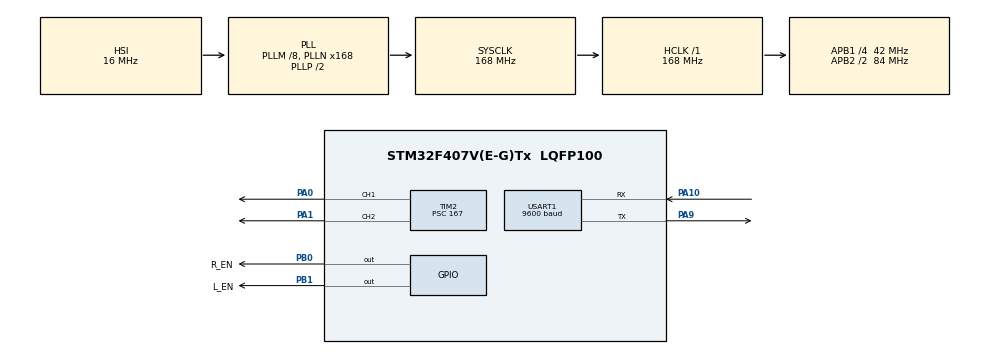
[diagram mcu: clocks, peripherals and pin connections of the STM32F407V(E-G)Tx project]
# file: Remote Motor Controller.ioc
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Mcu.Family=STM32F4
Mcu.Name=STM32F407V(E-G)Tx
Mcu.Package=LQFP100
NVIC.PriorityGroup=NVIC_PRIORITYGROUP_4
NVIC.TIM2_IRQn=true\:0\:0\:false\:false\:true\:true\:true\:true
NVIC.USART1_IRQn=true\:0\:0\:false\:false\:true\:true\:true\:true
PA0-WKUP.Signal=S_TIM2_CH1_ETR
PA1.Signal=S_TIM2_CH2
PA10.Mode=Asynchronous
PA10.Signal=USART1_RX
PA13.Mode=Serial_Wire
PA13.Signal=SYS_JTMS-SWDIO
PA14.Mode=Serial_Wire
PA14.Signal=SYS_JTCK-SWCLK
PA9.Mode=Asynchronous
PA9.Signal=USART1_TX
PB0.GPIO_Label=R_EN
PB0.PinState=GPIO_PIN_SET
PB0.Signal=GPIO_Output
PB1.GPIO_Label=L_EN
PB1.PinState=GPIO_PIN_SET
PB1.Signal=GPIO_Output
PH0-OSC_IN.Mode=HSE-External-Oscillator
PH0-OSC_IN.Signal=RCC_OSC_IN
PH1-OSC_OUT.Mode=HSE-External-Oscillator
PH1-OSC_OUT.Signal=RCC_OSC_OUT
ProjectManager.HeapSize=0x200
ProjectManager.StackSize=0x400
ProjectManager.TargetToolchain=MDK-ARM V5
RCC.48MHZClocksFreq_Value=84000000
RCC.AHBFreq_Value=168000000
RCC.APB1CLKDivider=RCC_HCLK_DIV4
RCC.APB1Freq_Value=42000000
RCC.APB1TimFreq_Value=84000000
RCC.APB2CLKDivider=RCC_HCLK_DIV2
RCC.APB2Freq_Value=84000000
RCC.APB2TimFreq_Value=168000000
RCC.CortexFreq_Value=168000000
RCC.HCLKFreq_Value=168000000
RCC.HSE_VALUE=25000000
RCC.HSI_VALUE=16000000
RCC.LSE_VALUE=32768
RCC.PLLM=8
RCC.PLLN=168
RCC.SYSCLKFreq_VALUE=168000000
RCC.SYSCLKSource=RCC_SYSCLKSOURCE_PLLCLK
RCC.VCOOutputFreq_Value=336000000
SH.S_TIM2_CH1_ETR.0=TIM2_CH1,PWM Generation1 CH1
SH.S_TIM2_CH2.0=TIM2_CH2,PWM Generation2 CH2
TIM2.Channel-PWM\ Generation1\ CH1=TIM_CHANNEL_1
TIM2.Channel-PWM\ Generation2\ CH2=TIM_CHANNEL_2
TIM2.Period=999
TIM2.Prescaler=167
USART1.BaudRate=9600
USART1.VirtualMode=VM_ASYNC
board=custom

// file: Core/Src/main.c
/* USER CODE BEGIN Header */
/**
  ******************************************************************************
  * @file           : main.c
  * @brief          : Main program body
  ******************************************************************************
  * @attention
  *
  * Copyright (c) 2025 STMicroelectronics.
  * All rights reserved.
  *
  * This software is licensed under terms that can be found in the LICENSE file
  * in the root directory of this software component.
  * If no LICENSE file comes with this software, it is provided AS-IS.
  *
  ******************************************************************************
  */
/* USER CODE END Header */
#include "main.h"

/* USER CODE BEGIN Includes */
#include "Motor.h"
#include "string.h"
#include "stdlib.h"
/* USER CODE END Includes */

TIM_HandleTypeDef htim2;

UART_HandleTypeDef huart1;

/* USER CODE BEGIN PV */
volatile int flag = 0; //This variable is 1 when a message is reciv
int status = 0;     //Demonstrates the status of motor. 1 : clockwise motion, 2 : anticlockwise , 3 : off.
int pwm = 0;				//The tim2 is configured on 1khz and  200 < pwm < 1000 is suitable for this config.
uint8_t buffer[5];  // every message that is recivied from user is 5 bytes.
/* USER CODE END PV */

void SystemClock_Config(void);
static void MX_GPIO_Init(void);
static void MX_TIM2_Init(void);
static void MX_USART1_UART_Init(void);
/* USER CODE BEGIN PFP */
void process_Input(uint8_t rx[]); //This function processes the user input and converts it to status and pwm.
/* USER CODE END PFP */

int main(void)
{

  /* MCU Configuration--------------------------------------------------------*/

  /* Reset of all peripherals, Initializes the Flash interface and the Systick. */
  HAL_Init();

  /* Configure the system clock */
  SystemClock_Config();

  /* Initialize all configured peripherals */
  MX_GPIO_Init();
  MX_TIM2_Init();
  MX_USART1_UART_Init();
  /* USER CODE BEGIN 2 */
	HAL_TIM_PWM_Start(&htim2,TIM_CHANNEL_1); //Start timer2 channel 1 for clockwise motion.
	HAL_TIM_PWM_Start(&htim2,TIM_CHANNEL_2); //Start timer2 channel 2 for anticlockwise motion.

	HAL_UART_Receive_IT(&huart1,buffer,7); //Recives 7 bytes instead 5 bytes becuase android application adds "\0" characters automatically.

  /* USER CODE END 2 */

  /* Infinite loop */
  /* USER CODE BEGIN WHILE */
  while (1)
  {
		if (flag == 1) {

				process_Input(buffer);
		    check_Motor(status,pwm); //This function check the stauts of motor and set the suitable pwm.
				flag = 0;
		}

    /* USER CODE END WHILE */

    /* USER CODE BEGIN 3 */
  }

}

void process_Input(uint8_t rx[]) {

		char text[5];
		memcpy(text, rx, 5); //Coppis and converts rx uint8_t buffer to char.

		char *p = strtok(text, ","); // Takes the first number of user input.
		status = atoi(p); // Converts char to integer.

		p = strtok(NULL, ","); // Takes the second numbers of user input.
		pwm = atoi(p);

}

void HAL_UART_RxCpltCallback(UART_HandleTypeDef *huart)
{
		if (huart == &huart1) {
				flag = 1;
				HAL_UART_Receive_IT(&huart1, buffer, 7);
		}
  /* USER CODE END 3 */
}

void SystemClock_Config(void)
{
  RCC_OscInitTypeDef RCC_OscInitStruct = {0};
  RCC_ClkInitTypeDef RCC_ClkInitStruct = {0};

  /** Configure the main internal regulator output voltage
  */
  __HAL_RCC_PWR_CLK_ENABLE();
  __HAL_PWR_VOLTAGESCALING_CONFIG(PWR_REGULATOR_VOLTAGE_SCALE1);

  /** Initializes the RCC Oscillators according to the specified parameters
  * in the RCC_OscInitTypeDef structure.
  */
  RCC_OscInitStruct.OscillatorType = RCC_OSCILLATORTYPE_HSI;
  RCC_OscInitStruct.HSIState = RCC_HSI_ON;
  RCC_OscInitStruct.HSICalibrationValue = RCC_HSICALIBRATION_DEFAULT;
  RCC_OscInitStruct.PLL.PLLState = RCC_PLL_ON;
  RCC_OscInitStruct.PLL.PLLSource = RCC_PLLSOURCE_HSI;
  RCC_OscInitStruct.PLL.PLLM = 8;
  RCC_OscInitStruct.PLL.PLLN = 168;
  RCC_OscInitStruct.PLL.PLLP = RCC_PLLP_DIV2;
  RCC_OscInitStruct.PLL.PLLQ = 4;
  if (HAL_RCC_OscConfig(&RCC_OscInitStruct) != HAL_OK)
  {
    Error_Handler();
  }

  /** Initializes the CPU, AHB and APB buses clocks
  */
  RCC_ClkInitStruct.ClockType = RCC_CLOCKTYPE_HCLK|RCC_CLOCKTYPE_SYSCLK
                              |RCC_CLOCKTYPE_PCLK1|RCC_CLOCKTYPE_PCLK2;
  RCC_ClkInitStruct.SYSCLKSource = RCC_SYSCLKSOURCE_PLLCLK;
  RCC_ClkInitStruct.AHBCLKDivider = RCC_SYSCLK_DIV1;
  RCC_ClkInitStruct.APB1CLKDivider = RCC_HCLK_DIV4;
  RCC_ClkInitStruct.APB2CLKDivider = RCC_HCLK_DIV2;

  if (HAL_RCC_ClockConfig(&RCC_ClkInitStruct, FLASH_LATENCY_5) != HAL_OK)
  {
    Error_Handler();
  }
}

static void MX_TIM2_Init(void)
{

  TIM_MasterConfigTypeDef sMasterConfig = {0};
  TIM_OC_InitTypeDef sConfigOC = {0};

  htim2.Instance = TIM2;
  htim2.Init.Prescaler = 167;
  htim2.Init.CounterMode = TIM_COUNTERMODE_UP;
  htim2.Init.Period = 999;
  htim2.Init.ClockDivision = TIM_CLOCKDIVISION_DIV1;
  htim2.Init.AutoReloadPreload = TIM_AUTORELOAD_PRELOAD_DISABLE;
  if (HAL_TIM_PWM_Init(&htim2) != HAL_OK)
  {
    Error_Handler();
  }
  sMasterConfig.MasterOutputTrigger = TIM_TRGO_RESET;
  sMasterConfig.MasterSlaveMode = TIM_MASTERSLAVEMODE_DISABLE;
  if (HAL_TIMEx_MasterConfigSynchronization(&htim2, &sMasterConfig) != HAL_OK)
  {
    Error_Handler();
  }
  sConfigOC.OCMode = TIM_OCMODE_PWM1;
  sConfigOC.Pulse = 0;
  sConfigOC.OCPolarity = TIM_OCPOLARITY_HIGH;
  sConfigOC.OCFastMode = TIM_OCFAST_DISABLE;
  if (HAL_TIM_PWM_ConfigChannel(&htim2, &sConfigOC, TIM_CHANNEL_1) != HAL_OK)
  {
    Error_Handler();
  }
  if (HAL_TIM_PWM_ConfigChannel(&htim2, &sConfigOC, TIM_CHANNEL_2) != HAL_OK)
  {
    Error_Handler();
  }
  HAL_TIM_MspPostInit(&htim2);

}

static void MX_USART1_UART_Init(void)
{

  huart1.Instance = USART1;
  huart1.Init.BaudRate = 9600;
  huart1.Init.WordLength = UART_WORDLENGTH_8B;
  huart1.Init.StopBits = UART_STOPBITS_1;
  huart1.Init.Parity = UART_PARITY_NONE;
  huart1.Init.Mode = UART_MODE_TX_RX;
  huart1.Init.HwFlowCtl = UART_HWCONTROL_NONE;
  huart1.Init.OverSampling = UART_OVERSAMPLING_16;
  if (HAL_UART_Init(&huart1) != HAL_OK)
  {
    Error_Handler();
  }

}

static void MX_GPIO_Init(void)
{
  GPIO_InitTypeDef GPIO_InitStruct = {0};

  /* GPIO Ports Clock Enable */
  __HAL_RCC_GPIOH_CLK_ENABLE();
  __HAL_RCC_GPIOA_CLK_ENABLE();
  __HAL_RCC_GPIOB_CLK_ENABLE();

  /*Configure GPIO pin Output Level */
  HAL_GPIO_WritePin(GPIOB, R_EN_Pin|L_EN_Pin, GPIO_PIN_SET);

  /*Configure GPIO pins : R_EN_Pin L_EN_Pin */
  GPIO_InitStruct.Pin = R_EN_Pin|L_EN_Pin;
  GPIO_InitStruct.Mode = GPIO_MODE_OUTPUT_PP;
  GPIO_InitStruct.Pull = GPIO_NOPULL;
  GPIO_InitStruct.Speed = GPIO_SPEED_FREQ_LOW;
  HAL_GPIO_Init(GPIOB, &GPIO_InitStruct);

}

void Error_Handler(void)
{
  __disable_irq();
  while (1)
  {
  }
}
